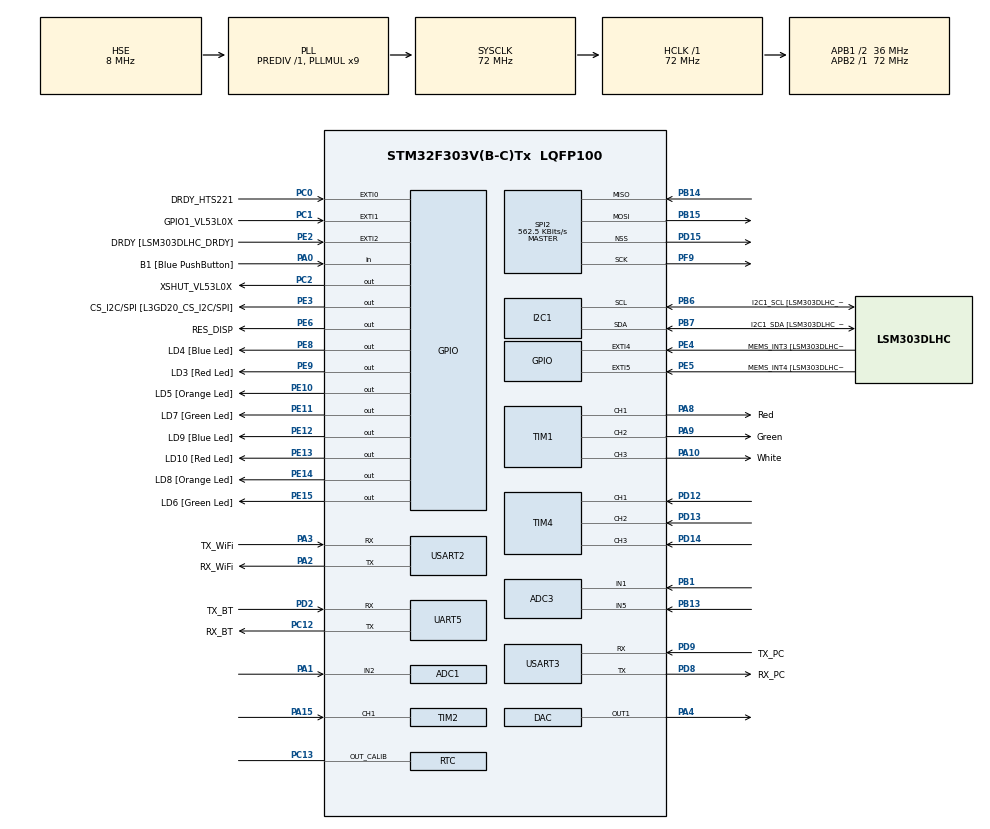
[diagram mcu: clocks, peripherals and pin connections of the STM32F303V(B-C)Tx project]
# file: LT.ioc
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ADC1.Channel-0\#ChannelRegularConversion=ADC_CHANNEL_2
ADC1.NbrOfConversionFlag=1
ADC1.Offset-0\#ChannelRegularConversion=0
ADC1.OffsetNumber-0\#ChannelRegularConversion=ADC_OFFSET_NONE
ADC1.Rank-0\#ChannelRegularConversion=1
ADC1.SamplingTime-0\#ChannelRegularConversion=ADC_SAMPLETIME_1CYCLE_5
ADC1.master=1
ADC3.Channel-0\#ChannelRegularConversion=ADC_CHANNEL_1
ADC3.NbrOfConversionFlag=1
ADC3.Offset-0\#ChannelRegularConversion=0
ADC3.OffsetNumber-0\#ChannelRegularConversion=ADC_OFFSET_NONE
ADC3.Rank-0\#ChannelRegularConversion=1
ADC3.SamplingTime-0\#ChannelRegularConversion=ADC_SAMPLETIME_1CYCLE_5
ADC3.master=1
I2C1.Timing-I2C=0x2000090E
Mcu.Family=STM32F3
Mcu.Name=STM32F303V(B-C)Tx
Mcu.Package=LQFP100
NVIC.PriorityGroup=NVIC_PRIORITYGROUP_0
PA0.GPIO_Label=B1 [Blue PushButton]
PA0.Signal=GPIO_Input
PA1.Mode=IN2-Single-Ended
PA1.Signal=ADC1_IN2
PA10.GPIO_Label=White
PA10.Signal=S_TIM1_CH3
PA11.GPIO_Label=DM
PA11.Signal=USB_DM
PA12.GPIO_Label=DP
PA12.Signal=USB_DP
PA13.GPIO_Label=SWDIO
PA13.Mode=Serial_Wire
PA13.Signal=SYS_JTMS-SWDIO
PA14.GPIO_Label=SWCLK
PA14.Mode=Serial_Wire
PA14.Signal=SYS_JTCK-SWCLK
PA15.Signal=S_TIM2_CH1_ETR
PA2.GPIO_Label=RX_WiFi
PA2.Mode=Asynchronous
PA2.Signal=USART2_TX
PA3.GPIO_Label=TX_WiFi
PA3.Mode=Asynchronous
PA3.Signal=USART2_RX
PA4.Signal=COMP_DAC1_group
PA5.GPIO_Label=SPI1_SCK [L3GD20_SCL/SPC]
PA5.Signal=SPI1_SCK
PA6.GPIO_Label=SPI1_MISO [L3GD20_SA0/SDO]
PA6.Signal=SPI1_MISO
PA7.GPIO_Label=SPI1_MISO [L3GD20_SDA/SDI/SDO]
PA7.Signal=SPI1_MOSI
PA8.GPIO_Label=Red
PA8.Signal=S_TIM1_CH1
PA9.GPIO_Label=Green
PA9.Signal=S_TIM1_CH2
PB1.Mode=IN1-Single-Ended
PB1.Signal=ADC3_IN1
PB13.Mode=IN5-Single-Ended
PB13.Signal=ADC3_IN5
PB14.Mode=Full_Duplex_Master
PB14.Signal=SPI2_MISO
PB15.Mode=Full_Duplex_Master
PB15.Signal=SPI2_MOSI
PB3.GPIO_Label=SWO
PB3.Signal=SYS_JTDO-TRACESWO
PB6.GPIO_Label=I2C1_SCL [LSM303DLHC_SCL]
PB6.Mode=I2C
PB6.Signal=I2C1_SCL
PB7.GPIO_Label=I2C1_SDA [LSM303DLHC_SDA]
PB7.Mode=I2C
PB7.Signal=I2C1_SDA
PC0.GPIO_Label=DRDY_HTS221
PC0.Signal=GPXTI0
PC1.GPIO_Label=GPIO1_VL53L0X
PC1.Signal=GPXTI1
PC12.GPIO_Label=RX_BT
PC12.Mode=Asynchronous
PC12.Signal=UART5_TX
PC13.Mode=Calibration_1Hz
PC13.Signal=RTC_OUT_CALIB
PC14-OSC32_IN.GPIO_Label=OSC32_IN
PC14-OSC32_IN.Mode=LSE-External-Oscillator
PC14-OSC32_IN.Signal=RCC_OSC32_IN
PC15-OSC32_OUT.GPIO_Label=OSC32_OUT
PC15-OSC32_OUT.Mode=LSE-External-Oscillator
PC15-OSC32_OUT.Signal=RCC_OSC32_OUT
PC2.GPIO_Label=XSHUT_VL53L0X
PC2.Signal=GPIO_Output
PD12.Signal=S_TIM4_CH1
PD13.Signal=S_TIM4_CH2
PD14.Signal=S_TIM4_CH3
PD15.Mode=NSS_Signal_Hard_Output
PD15.Signal=SPI2_NSS
PD2.GPIO_Label=TX_BT
PD2.Mode=Asynchronous
PD2.Signal=UART5_RX
PD8.GPIO_Label=RX_PC
PD8.Mode=Asynchronous
PD8.Signal=USART3_TX
PD9.GPIO_Label=TX_PC
PD9.Mode=Asynchronous
PD9.Signal=USART3_RX
PE10.GPIO_Label=LD5 [Orange Led]
PE10.Signal=GPIO_Output
PE11.GPIO_Label=LD7 [Green Led]
PE11.Signal=GPIO_Output
PE12.GPIO_Label=LD9 [Blue Led]
PE12.Signal=GPIO_Output
PE13.GPIO_Label=LD10 [Red Led]
PE13.Signal=GPIO_Output
PE14.GPIO_Label=LD8 [Orange Led]
PE14.Signal=GPIO_Output
PE15.GPIO_Label=LD6 [Green Led]
PE15.Signal=GPIO_Output
PE2.GPIO_Label=DRDY [LSM303DLHC_DRDY]
PE2.GPIO_ModeDefaultEXTI=GPIO_MODE_EVT_RISING
PE2.Signal=GPXTI2
PE3.GPIO_Label=CS_I2C/SPI [L3GD20_CS_I2C/SPI]
PE3.Signal=GPIO_Output
PE4.GPIO_Label=MEMS_INT3 [LSM303DLHC_INT1]
PE4.GPIO_ModeDefaultEXTI=GPIO_MODE_EVT_RISING
PE4.Signal=GPXTI4
PE5.GPIO_Label=MEMS_INT4 [LSM303DLHC_INT2]
PE5.GPIO_ModeDefaultEXTI=GPIO_MODE_EVT_RISING
PE5.Signal=GPXTI5
PE6.GPIO_Label=RES_DISP
PE6.Signal=GPIO_Output
PE8.GPIO_Label=LD4 [Blue Led]
PE8.Signal=GPIO_Output
PE9.GPIO_Label=LD3 [Red Led]
PE9.Signal=GPIO_Output
PF0-OSC_IN.GPIO_Label=OSC_IN
PF0-OSC_IN.Mode=HSE-External-Oscillator
PF0-OSC_IN.Signal=RCC_OSC_IN
PF1-OSC_OUT.GPIO_Label=OSC_OUT
PF1-OSC_OUT.Mode=HSE-External-Oscillator
PF1-OSC_OUT.Signal=RCC_OSC_OUT
PF9.Mode=Full_Duplex_Master
PF9.Signal=SPI2_SCK
ProjectManager.HeapSize=0x200
ProjectManager.StackSize=0x400
ProjectManager.TargetToolchain=EWARM V8
RCC.AHBFreq_Value=72000000
RCC.APB1CLKDivider=RCC_HCLK_DIV2
RCC.APB1Freq_Value=36000000
RCC.APB1TimFreq_Value=72000000
RCC.APB2Freq_Value=72000000
RCC.APB2TimFreq_Value=72000000
RCC.CortexFreq_Value=72000000
RCC.HCLKFreq_Value=72000000
RCC.HSE_VALUE=8000000
RCC.HSI_VALUE=8000000
RCC.PLLMUL=RCC_PLL_MUL9
RCC.PLLSourceVirtual=RCC_PLLSOURCE_HSE
RCC.SYSCLKFreq_VALUE=72000000
RCC.SYSCLKSourceVirtual=RCC_SYSCLKSOURCE_PLLCLK
RCC.USBFreq_Value=72000000
SH.COMP_DAC1_group.0=DAC_OUT1,DAC_OUT1
SH.S_TIM1_CH1.0=TIM1_CH1,Output Compare1 CH1
SH.S_TIM1_CH2.0=TIM1_CH2,Output Compare2 CH2
SH.S_TIM1_CH3.0=TIM1_CH3,Output Compare3 CH3
SH.S_TIM2_CH1_ETR.0=TIM2_CH1,Input_Capture1_from_TI1
SH.S_TIM4_CH1.0=TIM4_CH1,Input_Capture1_from_TI1
SH.S_TIM4_CH2.0=TIM4_CH2,Input_Capture2_from_TI2
SH.S_TIM4_CH3.0=TIM4_CH3,Input_Capture3_from_TI3
SPI2.BaudRatePrescaler=SPI_BAUDRATEPRESCALER_64
SPI2.CLKPhase=SPI_PHASE_2EDGE
SPI2.CLKPolarity=SPI_POLARITY_HIGH
SPI2.CalculateBaudRate=562.5 KBits/s
SPI2.DataSize=SPI_DATASIZE_8BIT
SPI2.Direction=SPI_DIRECTION_2LINES
SPI2.FirstBit=SPI_FIRSTBIT_LSB
SPI2.Mode=SPI_MODE_MASTER
SPI2.VirtualNSS=VM_NSSHARD
SPI2.VirtualType=VM_MASTER
TIM1.Channel-Output\ Compare1\ CH1=TIM_CHANNEL_1
TIM1.Channel-Output\ Compare2\ CH2=TIM_CHANNEL_2
TIM1.Channel-Output\ Compare3\ CH3=TIM_CHANNEL_3
TIM2.Channel-Input_Capture1_from_TI1=TIM_CHANNEL_1
TIM4.Channel-Input_Capture1_from_TI1=TIM_CHANNEL_1
TIM4.Channel-Input_Capture2_from_TI2=TIM_CHANNEL_2
TIM4.Channel-Input_Capture3_from_TI3=TIM_CHANNEL_3
USART2.VirtualMode-Asynchronous=VM_ASYNC
USART3.VirtualMode-Asynchronous=VM_ASYNC
VP_RTC_VS_RTC_Activate.Mode=RTC_Enabled
board=STM32F3DISCOVERY

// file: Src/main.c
/**
  ******************************************************************************
  * @file           : main.c
  * @brief          : Main program body
  ******************************************************************************
  ** This notice applies to any and all portions of this file
  * that are not between comment pairs USER CODE BEGIN and
  * USER CODE END. Other portions of this file, whether
  * inserted by the user or by software development tools
  * are owned by their respective copyright owners.
  *
  * COPYRIGHT(c) 2019 STMicroelectronics
  *
  * Redistribution and use in source and binary forms, with or without modification,
  * are permitted provided that the following conditions are met:
  *   1. Redistributions of source code must retain the above copyright notice,
  *      this list of conditions and the following disclaimer.
  *   2. Redistributions in binary form must reproduce the above copyright notice,
  *      this list of conditions and the following disclaimer in the documentation
  *      and/or other materials provided with the distribution.
  *   3. Neither the name of STMicroelectronics nor the names of its contributors
  *      may be used to endorse or promote products derived from this software
  *      without specific prior written permission.
  *
  * THIS SOFTWARE IS PROVIDED BY THE COPYRIGHT HOLDERS AND CONTRIBUTORS "AS IS"
  * AND ANY EXPRESS OR IMPLIED WARRANTIES, INCLUDING, BUT NOT LIMITED TO, THE
  * IMPLIED WARRANTIES OF MERCHANTABILITY AND FITNESS FOR A PARTICULAR PURPOSE ARE
  * DISCLAIMED. IN NO EVENT SHALL THE COPYRIGHT HOLDER OR CONTRIBUTORS BE LIABLE
  * FOR ANY DIRECT, INDIRECT, INCIDENTAL, SPECIAL, EXEMPLARY, OR CONSEQUENTIAL
  * DAMAGES (INCLUDING, BUT NOT LIMITED TO, PROCUREMENT OF SUBSTITUTE GOODS OR
  * SERVICES; LOSS OF USE, DATA, OR PROFITS; OR BUSINESS INTERRUPTION) HOWEVER
  * CAUSED AND ON ANY THEORY OF LIABILITY, WHETHER IN CONTRACT, STRICT LIABILITY,
  * OR TORT (INCLUDING NEGLIGENCE OR OTHERWISE) ARISING IN ANY WAY OUT OF THE USE
  * OF THIS SOFTWARE, EVEN IF ADVISED OF THE POSSIBILITY OF SUCH DAMAGE.
  *
  ******************************************************************************
  */
#include "main.h"
#include "stm32f3xx_hal.h"
#include "stdint.h"

ADC_HandleTypeDef hadc1;
ADC_HandleTypeDef hadc3;

DAC_HandleTypeDef hdac;

I2C_HandleTypeDef hi2c1;

RTC_HandleTypeDef hrtc;

SPI_HandleTypeDef hspi2;

TIM_HandleTypeDef htim1;
TIM_HandleTypeDef htim2;
TIM_HandleTypeDef htim4;

UART_HandleTypeDef huart5;
UART_HandleTypeDef huart2;
UART_HandleTypeDef huart3;

/* USER CODE BEGIN PV */
/* Private variables ---------------------------------------------------------*/

/* USER CODE END PV */

void SystemClock_Config(void);
static void MX_GPIO_Init(void);
static void MX_I2C1_Init(void);
static void MX_TIM2_Init(void);
static void MX_ADC3_Init(void);
static void MX_ADC1_Init(void);
static void MX_UART5_Init(void);
static void MX_USART2_UART_Init(void);
static void MX_SPI2_Init(void);
static void MX_TIM1_Init(void);
static void MX_TIM4_Init(void);
static void MX_USART3_UART_Init(void);
static void MX_DAC_Init(void);
static void MX_RTC_Init(void);

void HAL_TIM_MspPostInit(TIM_HandleTypeDef *htim);

/* USER CODE BEGIN PFP */
/* Private function prototypes -----------------------------------------------*/

/* USER CODE END PFP */

int main(void)
{

  /* MCU Configuration----------------------------------------------------------*/

  /* Reset of all peripherals, Initializes the Flash interface and the Systick. */
  HAL_Init();

  /* Configure the system clock */
  SystemClock_Config();

  /* Initialize all configured peripherals */
  MX_GPIO_Init();
  MX_I2C1_Init();
  MX_TIM2_Init();
  MX_ADC3_Init();
  MX_ADC1_Init();
  MX_UART5_Init();
  MX_USART2_UART_Init();
  MX_SPI2_Init();
  MX_TIM1_Init();
  MX_TIM4_Init();
  MX_USART3_UART_Init();
  MX_DAC_Init();
  MX_RTC_Init();

  /* Infinite loop */
  while (1)
  {

  }

}

   uint8_t data[3]={0x00,0x00,0x00};

void SystemClock_Config(void)
{

  RCC_OscInitTypeDef RCC_OscInitStruct;
  RCC_ClkInitTypeDef RCC_ClkInitStruct;
  RCC_PeriphCLKInitTypeDef PeriphClkInit;

    /**Initializes the CPU, AHB and APB busses clocks
    */
  RCC_OscInitStruct.OscillatorType = RCC_OSCILLATORTYPE_HSI|RCC_OSCILLATORTYPE_LSI
                              |RCC_OSCILLATORTYPE_HSE;
  RCC_OscInitStruct.HSEState = RCC_HSE_ON;
  RCC_OscInitStruct.HSEPredivValue = RCC_HSE_PREDIV_DIV1;
  RCC_OscInitStruct.HSIState = RCC_HSI_ON;
  RCC_OscInitStruct.HSICalibrationValue = 16;
  RCC_OscInitStruct.LSIState = RCC_LSI_ON;
  RCC_OscInitStruct.PLL.PLLState = RCC_PLL_ON;
  RCC_OscInitStruct.PLL.PLLSource = RCC_PLLSOURCE_HSE;
  RCC_OscInitStruct.PLL.PLLMUL = RCC_PLL_MUL9;
  if (HAL_RCC_OscConfig(&RCC_OscInitStruct) != HAL_OK)
  {
    _Error_Handler(__FILE__, __LINE__);
  }

    /**Initializes the CPU, AHB and APB busses clocks
    */
  RCC_ClkInitStruct.ClockType = RCC_CLOCKTYPE_HCLK|RCC_CLOCKTYPE_SYSCLK
                              |RCC_CLOCKTYPE_PCLK1|RCC_CLOCKTYPE_PCLK2;
  RCC_ClkInitStruct.SYSCLKSource = RCC_SYSCLKSOURCE_PLLCLK;
  RCC_ClkInitStruct.AHBCLKDivider = RCC_SYSCLK_DIV1;
  RCC_ClkInitStruct.APB1CLKDivider = RCC_HCLK_DIV2;
  RCC_ClkInitStruct.APB2CLKDivider = RCC_HCLK_DIV1;

  if (HAL_RCC_ClockConfig(&RCC_ClkInitStruct, FLASH_LATENCY_2) != HAL_OK)
  {
    _Error_Handler(__FILE__, __LINE__);
  }

  PeriphClkInit.PeriphClockSelection = RCC_PERIPHCLK_USART2|RCC_PERIPHCLK_USART3
                              |RCC_PERIPHCLK_UART5|RCC_PERIPHCLK_I2C1
                              |RCC_PERIPHCLK_RTC|RCC_PERIPHCLK_TIM1
                              |RCC_PERIPHCLK_ADC12|RCC_PERIPHCLK_ADC34;
  PeriphClkInit.Usart2ClockSelection = RCC_USART2CLKSOURCE_PCLK1;
  PeriphClkInit.Usart3ClockSelection = RCC_USART3CLKSOURCE_PCLK1;
  PeriphClkInit.Uart5ClockSelection = RCC_UART5CLKSOURCE_PCLK1;
  PeriphClkInit.Adc12ClockSelection = RCC_ADC12PLLCLK_DIV1;
  PeriphClkInit.Adc34ClockSelection = RCC_ADC34PLLCLK_DIV1;
  PeriphClkInit.I2c1ClockSelection = RCC_I2C1CLKSOURCE_HSI;
  PeriphClkInit.RTCClockSelection = RCC_RTCCLKSOURCE_LSI;
  PeriphClkInit.Tim1ClockSelection = RCC_TIM1CLK_HCLK;
  if (HAL_RCCEx_PeriphCLKConfig(&PeriphClkInit) != HAL_OK)
  {
    _Error_Handler(__FILE__, __LINE__);
  }

    /**Configure the Systick interrupt time
    */
  HAL_SYSTICK_Config(HAL_RCC_GetHCLKFreq()/1000);

    /**Configure the Systick
    */
  HAL_SYSTICK_CLKSourceConfig(SYSTICK_CLKSOURCE_HCLK);

  /* SysTick_IRQn interrupt configuration */
  HAL_NVIC_SetPriority(SysTick_IRQn, 0, 0);
}

/* ADC1 init function */
static void MX_ADC1_Init(void)
{

  ADC_MultiModeTypeDef multimode;
  ADC_ChannelConfTypeDef sConfig;

    /**Common config
    */
  hadc1.Instance = ADC1;
  hadc1.Init.ClockPrescaler = ADC_CLOCK_ASYNC_DIV1;
  hadc1.Init.Resolution = ADC_RESOLUTION_12B;
  hadc1.Init.ScanConvMode = ADC_SCAN_DISABLE;
  hadc1.Init.ContinuousConvMode = DISABLE;
  hadc1.Init.DiscontinuousConvMode = DISABLE;
  hadc1.Init.ExternalTrigConvEdge = ADC_EXTERNALTRIGCONVEDGE_NONE;
  hadc1.Init.ExternalTrigConv = ADC_SOFTWARE_START;
  hadc1.Init.DataAlign = ADC_DATAALIGN_RIGHT;
  hadc1.Init.NbrOfConversion = 1;
  hadc1.Init.DMAContinuousRequests = DISABLE;
  hadc1.Init.EOCSelection = ADC_EOC_SINGLE_CONV;
  hadc1.Init.LowPowerAutoWait = DISABLE;
  hadc1.Init.Overrun = ADC_OVR_DATA_OVERWRITTEN;
  if (HAL_ADC_Init(&hadc1) != HAL_OK)
  {
    _Error_Handler(__FILE__, __LINE__);
  }

    /**Configure the ADC multi-mode
    */
  multimode.Mode = ADC_MODE_INDEPENDENT;
  if (HAL_ADCEx_MultiModeConfigChannel(&hadc1, &multimode) != HAL_OK)
  {
    _Error_Handler(__FILE__, __LINE__);
  }

    /**Configure Regular Channel
    */
  sConfig.Channel = ADC_CHANNEL_2;
  sConfig.Rank = ADC_REGULAR_RANK_1;
  sConfig.SingleDiff = ADC_SINGLE_ENDED;
  sConfig.SamplingTime = ADC_SAMPLETIME_1CYCLE_5;
  sConfig.OffsetNumber = ADC_OFFSET_NONE;
  sConfig.Offset = 0;
  if (HAL_ADC_ConfigChannel(&hadc1, &sConfig) != HAL_OK)
  {
    _Error_Handler(__FILE__, __LINE__);
  }

}

/* ADC3 init function */
static void MX_ADC3_Init(void)
{

  ADC_MultiModeTypeDef multimode;
  ADC_ChannelConfTypeDef sConfig;

    /**Common config
    */
  hadc3.Instance = ADC3;
  hadc3.Init.ClockPrescaler = ADC_CLOCK_ASYNC_DIV1;
  hadc3.Init.Resolution = ADC_RESOLUTION_12B;
  hadc3.Init.ScanConvMode = ADC_SCAN_DISABLE;
  hadc3.Init.ContinuousConvMode = DISABLE;
  hadc3.Init.DiscontinuousConvMode = DISABLE;
  hadc3.Init.ExternalTrigConvEdge = ADC_EXTERNALTRIGCONVEDGE_NONE;
  hadc3.Init.ExternalTrigConv = ADC_SOFTWARE_START;
  hadc3.Init.DataAlign = ADC_DATAALIGN_RIGHT;
  hadc3.Init.NbrOfConversion = 1;
  hadc3.Init.DMAContinuousRequests = DISABLE;
  hadc3.Init.EOCSelection = ADC_EOC_SINGLE_CONV;
  hadc3.Init.LowPowerAutoWait = DISABLE;
  hadc3.Init.Overrun = ADC_OVR_DATA_OVERWRITTEN;
  if (HAL_ADC_Init(&hadc3) != HAL_OK)
  {
    _Error_Handler(__FILE__, __LINE__);
  }

    /**Configure the ADC multi-mode
    */
  multimode.Mode = ADC_MODE_INDEPENDENT;
  if (HAL_ADCEx_MultiModeConfigChannel(&hadc3, &multimode) != HAL_OK)
  {
    _Error_Handler(__FILE__, __LINE__);
  }

    /**Configure Regular Channel
    */
  sConfig.Channel = ADC_CHANNEL_1;
  sConfig.Rank = ADC_REGULAR_RANK_1;
  sConfig.SingleDiff = ADC_SINGLE_ENDED;
  sConfig.SamplingTime = ADC_SAMPLETIME_1CYCLE_5;
  sConfig.OffsetNumber = ADC_OFFSET_NONE;
  sConfig.Offset = 0;
  if (HAL_ADC_ConfigChannel(&hadc3, &sConfig) != HAL_OK)
  {
    _Error_Handler(__FILE__, __LINE__);
  }

}

/* DAC init function */
static void MX_DAC_Init(void)
{

  DAC_ChannelConfTypeDef sConfig;

    /**DAC Initialization
    */
  hdac.Instance = DAC;
  if (HAL_DAC_Init(&hdac) != HAL_OK)
  {
    _Error_Handler(__FILE__, __LINE__);
  }

    /**DAC channel OUT1 config
    */
  sConfig.DAC_Trigger = DAC_TRIGGER_NONE;
  sConfig.DAC_OutputBuffer = DAC_OUTPUTBUFFER_ENABLE;
  if (HAL_DAC_ConfigChannel(&hdac, &sConfig, DAC_CHANNEL_1) != HAL_OK)
  {
    _Error_Handler(__FILE__, __LINE__);
  }

}

/* I2C1 init function */
static void MX_I2C1_Init(void)
{

  hi2c1.Instance = I2C1;
  hi2c1.Init.Timing = 0x2000090E;
  hi2c1.Init.OwnAddress1 = 0;
  hi2c1.Init.AddressingMode = I2C_ADDRESSINGMODE_7BIT;
  hi2c1.Init.DualAddressMode = I2C_DUALADDRESS_DISABLE;
  hi2c1.Init.OwnAddress2 = 0;
  hi2c1.Init.OwnAddress2Masks = I2C_OA2_NOMASK;
  hi2c1.Init.GeneralCallMode = I2C_GENERALCALL_DISABLE;
  hi2c1.Init.NoStretchMode = I2C_NOSTRETCH_DISABLE;
  if (HAL_I2C_Init(&hi2c1) != HAL_OK)
  {
    _Error_Handler(__FILE__, __LINE__);
  }

    /**Configure Analogue filter
    */
  if (HAL_I2CEx_ConfigAnalogFilter(&hi2c1, I2C_ANALOGFILTER_ENABLE) != HAL_OK)
  {
    _Error_Handler(__FILE__, __LINE__);
  }

    /**Configure Digital filter
    */
  if (HAL_I2CEx_ConfigDigitalFilter(&hi2c1, 0) != HAL_OK)
  {
    _Error_Handler(__FILE__, __LINE__);
  }

}

/* RTC init function */
static void MX_RTC_Init(void)
{

    /**Initialize RTC Only
    */
  hrtc.Instance = RTC;
  hrtc.Init.HourFormat = RTC_HOURFORMAT_24;
  hrtc.Init.AsynchPrediv = 127;
  hrtc.Init.SynchPrediv = 255;
  hrtc.Init.OutPut = RTC_OUTPUT_DISABLE;
  hrtc.Init.OutPutPolarity = RTC_OUTPUT_POLARITY_HIGH;
  hrtc.Init.OutPutType = RTC_OUTPUT_TYPE_OPENDRAIN;
  if (HAL_RTC_Init(&hrtc) != HAL_OK)
  {
    _Error_Handler(__FILE__, __LINE__);
  }

    /**Enable Calibration
    */
  if (HAL_RTCEx_SetCalibrationOutPut(&hrtc, RTC_CALIBOUTPUT_1HZ) != HAL_OK)
  {
    _Error_Handler(__FILE__, __LINE__);
  }

}

/* SPI2 init function */
static void MX_SPI2_Init(void)
{

  /* SPI2 parameter configuration*/
  hspi2.Instance = SPI2;
  hspi2.Init.Mode = SPI_MODE_MASTER;
  hspi2.Init.Direction = SPI_DIRECTION_2LINES;
  hspi2.Init.DataSize = SPI_DATASIZE_8BIT;
  hspi2.Init.CLKPolarity = SPI_POLARITY_HIGH;
  hspi2.Init.CLKPhase = SPI_PHASE_2EDGE;
  hspi2.Init.NSS = SPI_NSS_HARD_OUTPUT;
  hspi2.Init.BaudRatePrescaler = SPI_BAUDRATEPRESCALER_64;
  hspi2.Init.FirstBit = SPI_FIRSTBIT_LSB;
  hspi2.Init.TIMode = SPI_TIMODE_DISABLE;
  hspi2.Init.CRCCalculation = SPI_CRCCALCULATION_DISABLE;
  hspi2.Init.CRCPolynomial = 7;
  hspi2.Init.CRCLength = SPI_CRC_LENGTH_DATASIZE;
  hspi2.Init.NSSPMode = SPI_NSS_PULSE_DISABLE;
  if (HAL_SPI_Init(&hspi2) != HAL_OK)
  {
    _Error_Handler(__FILE__, __LINE__);
  }

}

/* TIM1 init function */
static void MX_TIM1_Init(void)
{

  TIM_MasterConfigTypeDef sMasterConfig;
  TIM_OC_InitTypeDef sConfigOC;
  TIM_BreakDeadTimeConfigTypeDef sBreakDeadTimeConfig;

  htim1.Instance = TIM1;
  htim1.Init.Prescaler = 0;
  htim1.Init.CounterMode = TIM_COUNTERMODE_UP;
  htim1.Init.Period = 0;
  htim1.Init.ClockDivision = TIM_CLOCKDIVISION_DIV1;
  htim1.Init.RepetitionCounter = 0;
  htim1.Init.AutoReloadPreload = TIM_AUTORELOAD_PRELOAD_DISABLE;
  if (HAL_TIM_OC_Init(&htim1) != HAL_OK)
  {
    _Error_Handler(__FILE__, __LINE__);
  }

  sMasterConfig.MasterOutputTrigger = TIM_TRGO_RESET;
  sMasterConfig.MasterOutputTrigger2 = TIM_TRGO2_RESET;
  sMasterConfig.MasterSlaveMode = TIM_MASTERSLAVEMODE_DISABLE;
  if (HAL_TIMEx_MasterConfigSynchronization(&htim1, &sMasterConfig) != HAL_OK)
  {
    _Error_Handler(__FILE__, __LINE__);
  }

  sConfigOC.OCMode = TIM_OCMODE_TIMING;
  sConfigOC.Pulse = 0;
  sConfigOC.OCPolarity = TIM_OCPOLARITY_HIGH;
  sConfigOC.OCNPolarity = TIM_OCNPOLARITY_HIGH;
  sConfigOC.OCFastMode = TIM_OCFAST_DISABLE;
  sConfigOC.OCIdleState = TIM_OCIDLESTATE_RESET;
  sConfigOC.OCNIdleState = TIM_OCNIDLESTATE_RESET;
  if (HAL_TIM_OC_ConfigChannel(&htim1, &sConfigOC, TIM_CHANNEL_1) != HAL_OK)
  {
    _Error_Handler(__FILE__, __LINE__);
  }

  if (HAL_TIM_OC_ConfigChannel(&htim1, &sConfigOC, TIM_CHANNEL_2) != HAL_OK)
  {
    _Error_Handler(__FILE__, __LINE__);
  }

  if (HAL_TIM_OC_ConfigChannel(&htim1, &sConfigOC, TIM_CHANNEL_3) != HAL_OK)
  {
    _Error_Handler(__FILE__, __LINE__);
  }

  sBreakDeadTimeConfig.OffStateRunMode = TIM_OSSR_DISABLE;
  sBreakDeadTimeConfig.OffStateIDLEMode = TIM_OSSI_DISABLE;
  sBreakDeadTimeConfig.LockLevel = TIM_LOCKLEVEL_OFF;
  sBreakDeadTimeConfig.DeadTime = 0;
  sBreakDeadTimeConfig.BreakState = TIM_BREAK_DISABLE;
  sBreakDeadTimeConfig.BreakPolarity = TIM_BREAKPOLARITY_HIGH;
  sBreakDeadTimeConfig.BreakFilter = 0;
  sBreakDeadTimeConfig.Break2State = TIM_BREAK2_DISABLE;
  sBreakDeadTimeConfig.Break2Polarity = TIM_BREAK2POLARITY_HIGH;
  sBreakDeadTimeConfig.Break2Filter = 0;
  sBreakDeadTimeConfig.AutomaticOutput = TIM_AUTOMATICOUTPUT_DISABLE;
  if (HAL_TIMEx_ConfigBreakDeadTime(&htim1, &sBreakDeadTimeConfig) != HAL_OK)
  {
    _Error_Handler(__FILE__, __LINE__);
  }

  HAL_TIM_MspPostInit(&htim1);

}

/* TIM2 init function */
static void MX_TIM2_Init(void)
{

  TIM_MasterConfigTypeDef sMasterConfig;
  TIM_IC_InitTypeDef sConfigIC;

  htim2.Instance = TIM2;
  htim2.Init.Prescaler = 0;
  htim2.Init.CounterMode = TIM_COUNTERMODE_UP;
  htim2.Init.Period = 0;
  htim2.Init.ClockDivision = TIM_CLOCKDIVISION_DIV1;
  htim2.Init.AutoReloadPreload = TIM_AUTORELOAD_PRELOAD_DISABLE;
  if (HAL_TIM_IC_Init(&htim2) != HAL_OK)
  {
    _Error_Handler(__FILE__, __LINE__);
  }

  sMasterConfig.MasterOutputTrigger = TIM_TRGO_RESET;
  sMasterConfig.MasterSlaveMode = TIM_MASTERSLAVEMODE_DISABLE;
  if (HAL_TIMEx_MasterConfigSynchronization(&htim2, &sMasterConfig) != HAL_OK)
  {
    _Error_Handler(__FILE__, __LINE__);
  }

  sConfigIC.ICPolarity = TIM_INPUTCHANNELPOLARITY_RISING;
  sConfigIC.ICSelection = TIM_ICSELECTION_DIRECTTI;
  sConfigIC.ICPrescaler = TIM_ICPSC_DIV1;
  sConfigIC.ICFilter = 0;
  if (HAL_TIM_IC_ConfigChannel(&htim2, &sConfigIC, TIM_CHANNEL_1) != HAL_OK)
  {
    _Error_Handler(__FILE__, __LINE__);
  }

}

/* TIM4 init function */
static void MX_TIM4_Init(void)
{

  TIM_MasterConfigTypeDef sMasterConfig;
  TIM_IC_InitTypeDef sConfigIC;

  htim4.Instance = TIM4;
  htim4.Init.Prescaler = 0;
  htim4.Init.CounterMode = TIM_COUNTERMODE_UP;
  htim4.Init.Period = 0;
  htim4.Init.ClockDivision = TIM_CLOCKDIVISION_DIV1;
  htim4.Init.AutoReloadPreload = TIM_AUTORELOAD_PRELOAD_DISABLE;
  if (HAL_TIM_IC_Init(&htim4) != HAL_OK)
  {
    _Error_Handler(__FILE__, __LINE__);
  }

  sMasterConfig.MasterOutputTrigger = TIM_TRGO_RESET;
  sMasterConfig.MasterSlaveMode = TIM_MASTERSLAVEMODE_DISABLE;
  if (HAL_TIMEx_MasterConfigSynchronization(&htim4, &sMasterConfig) != HAL_OK)
  {
    _Error_Handler(__FILE__, __LINE__);
  }

  sConfigIC.ICPolarity = TIM_INPUTCHANNELPOLARITY_RISING;
  sConfigIC.ICSelection = TIM_ICSELECTION_DIRECTTI;
  sConfigIC.ICPrescaler = TIM_ICPSC_DIV1;
  sConfigIC.ICFilter = 0;
  if (HAL_TIM_IC_ConfigChannel(&htim4, &sConfigIC, TIM_CHANNEL_1) != HAL_OK)
  {
    _Error_Handler(__FILE__, __LINE__);
  }

  if (HAL_TIM_IC_ConfigChannel(&htim4, &sConfigIC, TIM_CHANNEL_2) != HAL_OK)
  {
    _Error_Handler(__FILE__, __LINE__);
  }

  if (HAL_TIM_IC_ConfigChannel(&htim4, &sConfigIC, TIM_CHANNEL_3) != HAL_OK)
  {
    _Error_Handler(__FILE__, __LINE__);
  }

}

/* UART5 init function */
static void MX_UART5_Init(void)
{

  huart5.Instance = UART5;
  huart5.Init.BaudRate = 115200;
  huart5.Init.WordLength = UART_WORDLENGTH_8B;
  huart5.Init.StopBits = UART_STOPBITS_1;
  huart5.Init.Parity = UART_PARITY_NONE;
  huart5.Init.Mode = UART_MODE_TX_RX;
  huart5.Init.HwFlowCtl = UART_HWCONTROL_NONE;
  huart5.Init.OverSampling = UART_OVERSAMPLING_16;
  huart5.Init.OneBitSampling = UART_ONE_BIT_SAMPLE_DISABLE;
  huart5.AdvancedInit.AdvFeatureInit = UART_ADVFEATURE_NO_INIT;
  if (HAL_UART_Init(&huart5) != HAL_OK)
  {
    _Error_Handler(__FILE__, __LINE__);
  }

}

/* USART2 init function */
static void MX_USART2_UART_Init(void)
{

  huart2.Instance = USART2;
  huart2.Init.BaudRate = 38400;
  huart2.Init.WordLength = UART_WORDLENGTH_8B;
  huart2.Init.StopBits = UART_STOPBITS_1;
  huart2.Init.Parity = UART_PARITY_NONE;
  huart2.Init.Mode = UART_MODE_TX_RX;
  huart2.Init.HwFlowCtl = UART_HWCONTROL_NONE;
  huart2.Init.OverSampling = UART_OVERSAMPLING_16;
  huart2.Init.OneBitSampling = UART_ONE_BIT_SAMPLE_DISABLE;
  huart2.AdvancedInit.AdvFeatureInit = UART_ADVFEATURE_NO_INIT;
  if (HAL_UART_Init(&huart2) != HAL_OK)
  {
    _Error_Handler(__FILE__, __LINE__);
  }

}

/* USART3 init function */
static void MX_USART3_UART_Init(void)
{

  huart3.Instance = USART3;
  huart3.Init.BaudRate = 38400;
  huart3.Init.WordLength = UART_WORDLENGTH_8B;
  huart3.Init.StopBits = UART_STOPBITS_1;
  huart3.Init.Parity = UART_PARITY_NONE;
  huart3.Init.Mode = UART_MODE_TX_RX;
  huart3.Init.HwFlowCtl = UART_HWCONTROL_NONE;
  huart3.Init.OverSampling = UART_OVERSAMPLING_16;
  huart3.Init.OneBitSampling = UART_ONE_BIT_SAMPLE_DISABLE;
  huart3.AdvancedInit.AdvFeatureInit = UART_ADVFEATURE_NO_INIT;
  if (HAL_UART_Init(&huart3) != HAL_OK)
  {
    _Error_Handler(__FILE__, __LINE__);
  }

}

/** Configure pins as
        * Analog
        * Input
        * Output
        * EVENT_OUT
        * EXTI
     PA5   ------> SPI1_SCK
     PA6   ------> SPI1_MISO
     PA7   ------> SPI1_MOSI
     PA11   ------> USB_DM
     PA12   ------> USB_DP
*/
static void MX_GPIO_Init(void)
{

  GPIO_InitTypeDef GPIO_InitStruct;

  /* GPIO Ports Clock Enable */
  __HAL_RCC_GPIOE_CLK_ENABLE();
  __HAL_RCC_GPIOC_CLK_ENABLE();
  __HAL_RCC_GPIOF_CLK_ENABLE();
  __HAL_RCC_GPIOA_CLK_ENABLE();
  __HAL_RCC_GPIOB_CLK_ENABLE();
  __HAL_RCC_GPIOD_CLK_ENABLE();

  /*Configure GPIO pin Output Level */
  HAL_GPIO_WritePin(GPIOE, CS_I2C_SPI_Pin|RES_DISP_Pin|LD4_Pin|LD3_Pin
                          |LD5_Pin|LD7_Pin|LD9_Pin|LD10_Pin
                          |LD8_Pin|LD6_Pin, GPIO_PIN_RESET);

  /*Configure GPIO pin Output Level */
  HAL_GPIO_WritePin(XSHUT_VL53L0X_GPIO_Port, XSHUT_VL53L0X_Pin, GPIO_PIN_RESET);

  /*Configure GPIO pins : DRDY_Pin MEMS_INT3_Pin MEMS_INT4_Pin */
  GPIO_InitStruct.Pin = DRDY_Pin|MEMS_INT3_Pin|MEMS_INT4_Pin;
  GPIO_InitStruct.Mode = GPIO_MODE_EVT_RISING;
  GPIO_InitStruct.Pull = GPIO_NOPULL;
  HAL_GPIO_Init(GPIOE, &GPIO_InitStruct);

  /*Configure GPIO pins : CS_I2C_SPI_Pin RES_DISP_Pin LD4_Pin LD3_Pin
                           LD5_Pin LD7_Pin LD9_Pin LD10_Pin
                           LD8_Pin LD6_Pin */
  GPIO_InitStruct.Pin = CS_I2C_SPI_Pin|RES_DISP_Pin|LD4_Pin|LD3_Pin
                          |LD5_Pin|LD7_Pin|LD9_Pin|LD10_Pin
                          |LD8_Pin|LD6_Pin;
  GPIO_InitStruct.Mode = GPIO_MODE_OUTPUT_PP;
  GPIO_InitStruct.Pull = GPIO_NOPULL;
  GPIO_InitStruct.Speed = GPIO_SPEED_FREQ_LOW;
  HAL_GPIO_Init(GPIOE, &GPIO_InitStruct);

  /*Configure GPIO pins : DRDY_HTS221_Pin GPIO1_VL53L0X_Pin */
  GPIO_InitStruct.Pin = DRDY_HTS221_Pin|GPIO1_VL53L0X_Pin;
  GPIO_InitStruct.Mode = GPIO_MODE_IT_RISING;
  GPIO_InitStruct.Pull = GPIO_NOPULL;
  HAL_GPIO_Init(GPIOC, &GPIO_InitStruct);

  /*Configure GPIO pin : XSHUT_VL53L0X_Pin */
  GPIO_InitStruct.Pin = XSHUT_VL53L0X_Pin;
  GPIO_InitStruct.Mode = GPIO_MODE_OUTPUT_PP;
  GPIO_InitStruct.Pull = GPIO_NOPULL;
  GPIO_InitStruct.Speed = GPIO_SPEED_FREQ_LOW;
  HAL_GPIO_Init(XSHUT_VL53L0X_GPIO_Port, &GPIO_InitStruct);

  /*Configure GPIO pin : B1_Pin */
  GPIO_InitStruct.Pin = B1_Pin;
  GPIO_InitStruct.Mode = GPIO_MODE_INPUT;
  GPIO_InitStruct.Pull = GPIO_NOPULL;
  HAL_GPIO_Init(B1_GPIO_Port, &GPIO_InitStruct);

  /*Configure GPIO pins : SPI1_SCK_Pin SPI1_MISO_Pin SPI1_MISOA7_Pin */
  GPIO_InitStruct.Pin = SPI1_SCK_Pin|SPI1_MISO_Pin|SPI1_MISOA7_Pin;
  GPIO_InitStruct.Mode = GPIO_MODE_AF_PP;
  GPIO_InitStruct.Pull = GPIO_NOPULL;
  GPIO_InitStruct.Speed = GPIO_SPEED_FREQ_HIGH;
  GPIO_InitStruct.Alternate = GPIO_AF5_SPI1;
  HAL_GPIO_Init(GPIOA, &GPIO_InitStruct);

  /*Configure GPIO pins : DM_Pin DP_Pin */
  GPIO_InitStruct.Pin = DM_Pin|DP_Pin;
  GPIO_InitStruct.Mode = GPIO_MODE_AF_PP;
  GPIO_InitStruct.Pull = GPIO_NOPULL;
  GPIO_InitStruct.Speed = GPIO_SPEED_FREQ_HIGH;
  GPIO_InitStruct.Alternate = GPIO_AF14_USB;
  HAL_GPIO_Init(GPIOA, &GPIO_InitStruct);

}

/* USER CODE BEGIN 4 */
 void initDisplay(void)
  {
        HAL_GPIO_WritePin(GPIOE,GPIO_PIN_6,GPIO_PIN_RESET);
        HAL_GPIO_WritePin(GPIOE,GPIO_PIN_6,GPIO_PIN_SET);
	while(1)
        {
          sendDisplay(0,0,0x3A);/* Function Set -> 8-bit data RE=1 */
          HAL_Delay(1);
        }
	sendDisplay(0,0,0x09); /* 4 line display */
	sendDisplay(0,0,0x06); /* bottom view */
	sendDisplay(0,0,0x1E); /* BS1 = 1 */
	sendDisplay(0,0,0x39); /* Function Set -> 8-bit data RE=0 */
	sendDisplay(0,0,0x1B); /* Internal OSC */
	sendDisplay(0,0,0x6E); /* Follower control */
	sendDisplay(0,0,0x56); /* Power control */
	sendDisplay(0,0,0x7A); /* Contrast Set */
	sendDisplay(0,0,0x38); /* Function Set -> 8-bit data IS=0 */
	sendDisplay(0,0,0x0F); /* Display on, Cursor on, Blink on */// 0000 1100 = 0C
        sendDisplay(0,0,0x01); // clear display
  }

  void sendDisplay(uint8_t rs,uint8_t rw,uint8_t db)
  {
	data[0] = 0x1F | (rs << 6) | (rw << 5);
	data[1] = db & 0x0f;
	data[2] = (db & 0xf0) >> 4;
	HAL_SPI_Transmit(&hspi2,data,3,1000);

  }
/* USER CODE END 4 */

void _Error_Handler(char *file, int line)
{
  while(1)
  {
  }
}

/************************ (C) COPYRIGHT STMicroelectronics *****END OF FILE****/
